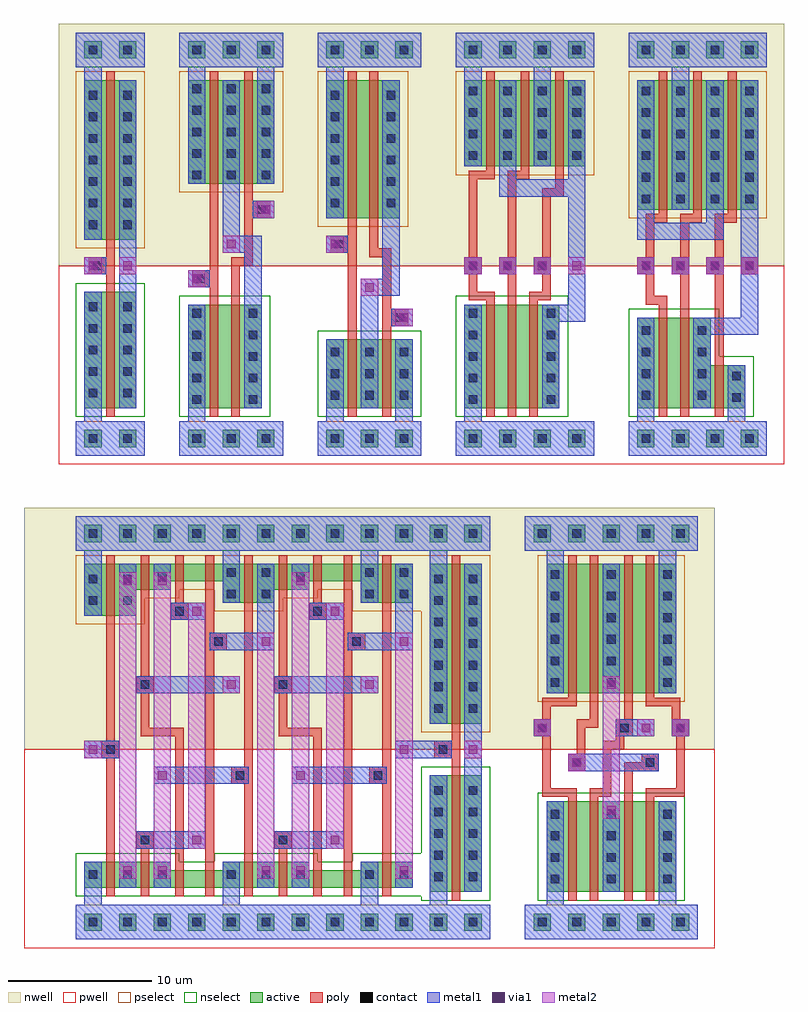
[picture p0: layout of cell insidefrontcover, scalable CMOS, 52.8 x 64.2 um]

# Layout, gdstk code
import gdstk
lib = gdstk.Library(unit=1e-6, precision=1e-09)
def R(c, l, rs):  # rectangles x0, y0, x1, y1
    for r in rs: c.add(gdstk.rectangle(r[:2], r[2:], *l))
def A(c, l, x, y, w, h, nx, ny, dx, dy):  # array of equal rectangles
    R(c, l, [(x+i*dx, y+j*dy, x+i*dx+w, y+j*dy+h) for i in range(nx) for j in range(ny)])
contact = (25, 0)
pwell = (41, 0)
nwell = (42, 0)
active = (43, 0)
pselect = (44, 0)
nselect = (45, 0)
poly = (46, 0)
metal1 = (49, 0)
via1 = (50, 0)
metal2 = (51, 0)

a2o1i_1_5x = lib.new_cell('a2o1i_1_5x')
A(a2o1i_1_5x, contact, 0.9, -0.3, 0.6, 0.6, 4, 2, 2.4, 12)
A(a2o1i_1_5x, contact, 0.9, 2.7, 0.6, 0.6, 1, 4, 0, 1.5)
A(a2o1i_1_5x, contact, 4.8, 2.7, 0.6, 0.6, 1, 4, 0, 1.5)
A(a2o1i_1_5x, contact, 0.9, 16.35, 0.6, 0.6, 4, 6, 2.4, 1.5)
A(a2o1i_1_5x, contact, 0.9, 26.7, 0.6, 0.6, 4, 1, 2.4, 0)
R(a2o1i_1_5x, contact, [(7.2,2.55,7.8,3.15), (7.2,4.05,7.8,4.65)])
A(a2o1i_1_5x, pwell, -0.3, -1.5, 3, 3, 4, 1, 2.4, 0)
R(a2o1i_1_5x, pwell, [(-1.2,-1.8,10.8,12), (-1.2,0.3,3.6,10.2), (-0.6,0.3,5.4,10.2), (0.9,0.3,6.9,10.2), (2.7,0.3,7.5,10.2), (3.3,0.3,9.3,6.9), (5.1,0.3,9.9,6.9), (2.775,1.35,7.425,5.85), (5.175,1.35,9.75,5.85), (-1.05,1.95,3.525,6.45), (0.525,1.95,5.775,6.45), (2.775,1.95,7.35,6.45)])
A(a2o1i_1_5x, nwell, -1.2, 14.1, 4.8, 12.6, 4, 1, 2.4, 0)
A(a2o1i_1_5x, nwell, -0.6, 14.1, 6, 12.6, 3, 1, 2.4, 0)
A(a2o1i_1_5x, nwell, -0.3, 25.5, 3, 3, 4, 1, 2.4, 0)
R(a2o1i_1_5x, nwell, [(-1.2,12,10.8,28.8), (-1.05,19.65,3.525,24.15), (1.275,19.65,5.85,24.15), (1.35,19.65,5.925,24.15), (3.675,19.65,8.25,24.15), (3.75,19.65,8.325,24.15), (6.075,19.65,10.65,24.15)])
A(a2o1i_1_5x, active, 0.6, -0.6, 1.2, 1.2, 4, 2, 2.4, 27)
A(a2o1i_1_5x, active, 0.6, 15.9, 1.2, 9, 4, 1, 2.4, 0)
A(a2o1i_1_5x, active, 1.2, 15.9, 2.4, 9, 3, 1, 2.4, 0)
R(a2o1i_1_5x, active, [(0.6,2.1,1.8,8.4), (1.2,2.1,3.6,8.4), (2.7,2.1,5.1,8.4), (4.5,2.1,5.7,8.4), (5.1,2.1,7.5,5.1), (6.9,2.1,8.1,5.1), (4.575,3.15,5.625,4.05), (6.975,3.15,7.95,4.05), (0.75,3.75,1.725,4.65), (2.325,3.75,3.975,4.65), (4.575,3.75,5.55,4.65), (0.75,21.45,1.725,22.35), (3.075,21.45,4.05,22.35), (3.15,21.45,4.125,22.35), (5.475,21.45,6.45,22.35), (5.55,21.45,6.525,22.35), (7.875,21.45,8.85,22.35)])
A(a2o1i_1_5x, pselect, 0, -1.2, 2.4, 2.4, 4, 1, 2.4, 0)
A(a2o1i_1_5x, pselect, 0, 15.3, 2.4, 10.2, 4, 1, 2.4, 0)
A(a2o1i_1_5x, pselect, 0.6, 15.3, 3.6, 10.2, 3, 1, 2.4, 0)
R(a2o1i_1_5x, pselect, [(0.15,20.85,2.325,22.95), (2.475,20.85,4.65,22.95), (2.55,20.85,4.725,22.95), (4.875,20.85,7.05,22.95), (4.95,20.85,7.125,22.95), (7.275,20.85,9.45,22.95)])
A(a2o1i_1_5x, nselect, 0, 25.8, 2.4, 2.4, 4, 1, 2.4, 0)
R(a2o1i_1_5x, nselect, [(0,1.5,2.4,9), (0.6,1.5,4.2,9), (2.1,1.5,5.7,9), (3.9,1.5,6.3,9), (4.5,1.5,8.1,5.7), (6.3,1.5,8.7,5.7), (3.975,2.55,6.225,4.65), (6.375,2.55,8.55,4.65), (0.15,3.15,2.325,5.25), (1.725,3.15,4.575,5.25), (3.975,3.15,6.15,5.25)])
A(a2o1i_1_5x, poly, 0.6, 11.4, 1.2, 1.2, 4, 1, 2.4, 0)
A(a2o1i_1_5x, poly, 0.9, 11.7, 0.9, 0.6, 3, 1, 2.4, 0)
A(a2o1i_1_5x, poly, 1.2, 11.7, 0.6, 3.9, 3, 1, 2.4, 0)
A(a2o1i_1_5x, poly, 1.2, 15, 1.5, 0.6, 3, 1, 2.4, 0)
A(a2o1i_1_5x, poly, 2.1, 15.3, 0.6, 10.2, 3, 1, 2.4, 0)
R(a2o1i_1_5x, poly, [(2.1,1.5,2.7,9), (3.6,1.5,4.2,9), (6,1.5,6.6,5.7), (6,5.4,6.6,12.3), (2.1,8.7,2.7,9.3), (2.1,8.7,2.7,9.3), (2.1,8.7,2.7,9.9), (3.6,8.7,4.2,12.3), (1.2,9.3,2.7,9.9), (1.2,9.3,1.8,12.3), (3.6,11.7,4.2,12.3)])
A(a2o1i_1_5x, metal1, 0.6, -0.6, 1.2, 1.2, 4, 2, 2.4, 27)
A(a2o1i_1_5x, metal1, 0.6, 15.9, 1.2, 9, 4, 1, 2.4, 0)
A(a2o1i_1_5x, metal1, 0, 25.8, 4.8, 2.4, 3, 1, 2.4, 0)
R(a2o1i_1_5x, metal1, [(0,-1.2,4.8,1.2), (0,-1.2,4.8,1.2), (2.4,-1.2,7.2,1.2), (4.8,-1.2,8.7,1.2), (6.3,-1.2,9.6,1.2), (6.3,-1.2,9.6,1.2), (0.6,-0.6,1.8,3.15), (6.9,-0.6,8.1,4.2), (0.75,-0.45,1.65,0.45), (7.95,-0.45,8.85,0.45), (0.6,2.1,1.8,8.4), (4.5,2.1,5.7,8.4), (6.9,2.1,8.1,5.1), (4.5,5.25,5.7,8.4), (4.5,7.2,9,8.4), (7.8,7.2,9,12.6), (4.65,7.35,5.55,8.25), (0.6,11.4,1.8,12.6), (0.6,11.4,1.8,12.6), (3,11.4,4.2,12.6), (3,11.4,4.2,12.6), (3,11.4,4.2,12.6), (5.4,11.4,6.6,12.6), (5.4,11.4,6.6,12.6), (5.4,11.4,6.6,12.6), (7.8,11.4,9,12.6), (7.8,11.4,9,12.6), (7.8,11.4,9,12.6), (7.8,11.4,9,16.95), (0.75,11.55,1.65,12.45), (0.6,13.8,1.8,22.5), (0.6,13.8,6.6,15), (5.4,13.8,6.6,19.95), (3,23.85,4.2,27.6), (0,25.8,2.4,28.2), (0,25.8,4.8,28.2), (2.4,25.8,9.6,28.2), (0.6,26.4,1.8,27.6), (7.8,26.4,9,27.6), (0.75,26.55,1.65,27.45)])
A(a2o1i_1_5x, via1, 0.9, 11.7, 0.6, 0.6, 4, 1, 2.4, 0)
A(a2o1i_1_5x, metal2, 0.6, 11.4, 1.2, 1.2, 4, 1, 2.4, 0)

flop_dp_4x = lib.new_cell('flop_dp_4x')
A(flop_dp_4x, contact, 14.7, -0.3, 0.6, 0.6, 3, 2, 2.4, 27)
A(flop_dp_4x, contact, 19.5, -0.3, 0.6, 0.6, 10, 2, 2.4, 27)
A(flop_dp_4x, contact, 38.7, 2.85, 0.6, 0.6, 1, 5, 0, 1.5)
A(flop_dp_4x, contact, 41.1, 2.85, 0.6, 0.6, 1, 5, 0, 1.5)
A(flop_dp_4x, contact, 24.3, 3, 0.6, 0.6, 3, 1, 2.4, 0)
A(flop_dp_4x, contact, 38.7, 14.55, 0.6, 0.6, 1, 7, 0, 1.5)
A(flop_dp_4x, contact, 41.1, 14.55, 0.6, 0.6, 1, 7, 0, 1.5)
R(flop_dp_4x, contact, [(14.7,3,15.3,3.6), (17.1,3,17.7,3.6), (17.1,3,17.7,3.6), (19.5,3,20.1,3.6), (33.9,3,34.5,3.6), (36.3,3,36.9,3.6), (18.3,5.4,18.9,6), (27.9,5.4,28.5,6), (24.9,9.9,25.5,10.5), (34.5,9.9,35.1,10.5), (15.9,11.7,16.5,12.3), (39,11.7,39.6,12.3), (18.3,16.2,18.9,16.8), (27.9,16.2,28.5,16.8), (23.4,19.2,24,19.8), (33,19.2,33.6,19.8), (20.7,21.3,21.3,21.9), (30.3,21.3,30.9,21.9), (14.7,22.05,15.3,22.65), (17.1,22.05,17.7,22.65), (24.3,22.5,24.9,23.1), (26.7,22.5,27.3,23.1), (33.9,22.5,34.5,23.1), (36.3,22.5,36.9,23.1), (14.7,23.55,15.3,24.15), (17.1,23.55,17.7,24.15), (19.5,23.7,20.1,24.3), (29.1,23.7,29.7,24.3), (24.3,24,24.9,24.6), (26.7,24,27.3,24.6), (33.9,24,34.5,24.6), (36.3,24,36.9,24.6)])
A(flop_dp_4x, pwell, 13.5, -1.5, 3, 3, 3, 1, 2.4, 0)
A(flop_dp_4x, pwell, 18.3, -1.5, 3, 3, 10, 1, 2.4, 0)
A(flop_dp_4x, pwell, 22.2, 0.6, 4.8, 5.4, 3, 1, 2.4, 0)
R(flop_dp_4x, pwell, [(10.2,-1.8,43.8,12), (36.6,0.3,41.4,12), (37.2,0.3,43.2,12), (39,0.3,43.8,12), (12.6,0.6,17.4,6), (13.2,0.6,19.2,6), (15,0.6,19.8,6), (15,0.6,19.8,6), (15.6,0.6,21.6,6), (17.4,0.6,22.2,6), (18,0.6,24,5.4), (20.1,0.6,26.1,5.4), (22.8,0.6,28.8,6), (25.2,0.6,31.2,6), (27.6,0.6,33.6,5.4), (29.7,0.6,35.7,5.4), (31.8,0.6,36.6,6), (32.4,0.6,38.4,6), (34.2,0.6,39,6), (12.75,0.75,17.325,5.25), (17.475,0.75,22.125,5.25), (19.725,0.75,24.375,5.25), (21.975,0.75,26.85,5.25), (27.075,0.75,31.725,5.25), (29.325,0.75,33.975,5.25), (31.575,0.9,36.45,5.4), (15.075,1.05,19.65,5.55), (17.475,1.05,22.05,5.55), (24.675,1.05,29.25,5.55), (24.675,1.05,29.325,5.55), (27.075,1.05,31.65,5.55), (15.15,1.35,19.725,5.85), (31.95,1.35,36.525,5.85), (34.275,1.35,38.85,5.85), (15.075,1.5,19.65,6), (22.35,1.5,26.925,6), (36.75,1.5,41.325,6), (39.075,1.5,43.65,6)])
A(flop_dp_4x, nwell, 13.5, 25.5, 3, 3, 3, 1, 2.4, 0)
A(flop_dp_4x, nwell, 18.3, 25.5, 3, 3, 10, 1, 2.4, 0)
R(flop_dp_4x, nwell, [(10.2,12,43.8,28.8), (36.6,12,41.4,26.7), (37.2,12,43.2,26.7), (39,12,43.8,26.7), (12.6,19.5,17.4,26.7), (13.2,19.5,19.2,26.7), (15,19.5,19.8,26.7), (15.075,20.25,19.65,24.75), (22.2,20.4,27,26.7), (22.8,20.4,28.8,26.7), (24.6,20.4,29.4,26.7), (31.8,20.4,36.6,26.7), (32.4,20.4,38.4,26.7), (34.2,20.4,39,26.7), (36.75,20.4,41.325,24.9), (39.075,20.532,43.65,25.032), (12.75,20.55,17.325,25.05), (34.275,21.15,38.85,25.65), (15.6,21.3,21.6,26.7), (17.4,21.3,22.2,26.7), (24.675,21.3,29.325,25.8), (25.2,21.3,31.2,26.7), (27,21.3,31.8,26.7), (24.675,21.75,29.25,26.25), (27.075,21.75,31.65,26.25), (18,21.9,24,26.7), (20.1,21.9,26.1,26.7), (21.975,21.9,26.925,26.4), (24.75,21.9,29.325,26.4), (27.6,21.9,33.6,26.7), (29.7,21.9,35.7,26.7), (31.575,21.9,36.525,26.4), (17.475,22.05,22.05,26.55), (19.725,22.05,24.375,26.55), (21.975,22.05,26.85,26.55), (27.075,22.05,31.725,26.55), (29.325,22.05,33.975,26.55), (31.575,22.05,36.45,26.55), (15.075,22.2,19.725,26.7), (17.475,22.2,22.125,26.7)])
A(flop_dp_4x, active, 14.4, -0.6, 1.2, 1.2, 3, 2, 2.4, 27)
A(flop_dp_4x, active, 19.2, -0.6, 1.2, 1.2, 10, 2, 2.4, 27)
A(flop_dp_4x, active, 24, 2.4, 1.2, 1.8, 3, 1, 2.4, 0)
R(flop_dp_4x, active, [(38.4,2.1,39.6,10.2), (39,2.1,41.4,10.2), (40.8,2.1,42,10.2), (14.4,2.4,15.6,4.2), (15,2.4,17.4,4.2), (16.8,2.4,18,4.2), (16.8,2.4,18,4.2), (17.4,2.4,19.8,4.2), (19.2,2.4,20.4,4.2), (19.8,2.4,22.2,3.6), (21.9,2.4,24.3,3.6), (24.6,2.4,27,4.2), (27,2.4,29.4,4.2), (29.4,2.4,31.8,3.6), (31.5,2.4,33.9,3.6), (33.6,2.4,34.8,4.2), (34.2,2.4,36.6,4.2), (36,2.4,37.2,4.2), (14.55,2.55,15.525,3.45), (19.275,2.55,20.325,3.45), (21.525,2.55,22.575,3.45), (23.775,2.55,25.05,3.45), (28.875,2.55,29.925,3.45), (31.125,2.55,32.175,3.45), (33.375,2.7,34.65,3.6), (16.875,2.85,17.85,3.75), (19.275,2.85,20.25,3.75), (26.475,2.85,27.45,3.75), (26.475,2.85,27.525,3.75), (28.875,2.85,29.85,3.75), (16.95,3.15,17.925,4.05), (33.75,3.15,34.725,4.05), (36.075,3.15,37.05,4.05), (16.875,3.3,17.85,4.2), (24.15,3.3,25.125,4.2), (38.55,3.3,39.525,4.2), (40.875,3.3,41.85,4.2), (38.4,13.8,39.6,24.9), (39,13.8,41.4,24.9), (40.8,13.8,42,24.9), (14.4,21.3,15.6,24.9), (15,21.3,17.4,24.9), (16.8,21.3,18,24.9), (16.875,22.05,17.85,22.95), (24,22.2,25.2,24.9), (24.6,22.2,27,24.9), (26.4,22.2,27.6,24.9), (33.6,22.2,34.8,24.9), (34.2,22.2,36.6,24.9), (36,22.2,37.2,24.9), (38.55,22.2,39.525,23.1), (40.875,22.332,41.85,23.232), (14.55,22.35,15.525,23.25), (36.075,22.95,37.05,23.85), (17.4,23.1,19.8,24.9), (19.2,23.1,20.4,24.9), (26.475,23.1,27.525,24), (27,23.1,29.4,24.9), (28.8,23.1,30,24.9), (26.475,23.55,27.45,24.45), (28.875,23.55,29.85,24.45), (19.8,23.7,22.2,24.9), (21.9,23.7,24.3,24.9), (23.775,23.7,25.125,24.6), (26.55,23.7,27.525,24.6), (29.4,23.7,31.8,24.9), (31.5,23.7,33.9,24.9), (33.375,23.7,34.725,24.6), (19.275,23.85,20.25,24.75), (21.525,23.85,22.575,24.75), (23.775,23.85,25.05,24.75), (28.875,23.85,29.925,24.75), (31.125,23.85,32.175,24.75), (33.375,23.85,34.65,24.75), (16.875,24,17.925,24.9), (19.275,24,20.325,24.9)])
A(flop_dp_4x, pselect, 13.8, -1.2, 2.4, 2.4, 3, 1, 2.4, 0)
A(flop_dp_4x, pselect, 18.6, -1.2, 2.4, 2.4, 10, 1, 2.4, 0)
R(flop_dp_4x, pselect, [(37.8,13.2,40.2,25.5), (38.4,13.2,42,25.5), (40.2,13.2,42.6,25.5), (13.8,20.7,16.2,25.5), (14.4,20.7,18,25.5), (16.2,20.7,18.6,25.5), (16.275,21.45,18.45,23.55), (23.4,21.6,25.8,25.5), (24,21.6,27.6,25.5), (25.8,21.6,28.2,25.5), (33,21.6,35.4,25.5), (33.6,21.6,37.2,25.5), (35.4,21.6,37.8,25.5), (37.95,21.6,40.125,23.7), (40.275,21.732,42.45,23.832), (13.95,21.75,16.125,23.85), (35.475,22.35,37.65,24.45), (16.8,22.5,20.4,25.5), (18.6,22.5,21,25.5), (25.875,22.5,28.125,24.6), (26.4,22.5,30,25.5), (28.2,22.5,30.6,25.5), (25.875,22.95,28.05,25.05), (28.275,22.95,30.45,25.05), (19.2,23.1,22.8,25.5), (21.3,23.1,24.9,25.5), (23.175,23.1,25.725,25.2), (25.95,23.1,28.125,25.2), (28.8,23.1,32.4,25.5), (30.9,23.1,34.5,25.5), (32.775,23.1,35.325,25.2), (18.675,23.25,20.85,25.35), (20.925,23.25,23.175,25.35), (23.175,23.25,25.65,25.35), (28.275,23.25,30.525,25.35), (30.525,23.25,32.775,25.35), (32.775,23.25,35.25,25.35), (16.275,23.4,18.525,25.5), (18.675,23.4,20.925,25.5)])
A(flop_dp_4x, nselect, 23.4, 1.8, 2.4, 3, 3, 1, 2.4, 0)
A(flop_dp_4x, nselect, 13.8, 25.8, 2.4, 2.4, 3, 1, 2.4, 0)
A(flop_dp_4x, nselect, 18.6, 25.8, 2.4, 2.4, 10, 1, 2.4, 0)
R(flop_dp_4x, nselect, [(37.8,1.5,40.2,10.8), (38.4,1.5,42,10.8), (40.2,1.5,42.6,10.8), (13.8,1.8,16.2,4.8), (14.4,1.8,18,4.8), (16.2,1.8,18.6,4.8), (16.2,1.8,18.6,4.8), (16.8,1.8,20.4,4.8), (18.6,1.8,21,4.8), (19.2,1.8,22.8,4.2), (21.3,1.8,24.9,4.2), (24,1.8,27.6,4.8), (26.4,1.8,30,4.8), (28.8,1.8,32.4,4.2), (30.9,1.8,34.5,4.2), (33,1.8,35.4,4.8), (33.6,1.8,37.2,4.8), (35.4,1.8,37.8,4.8), (13.95,1.95,16.125,4.05), (18.675,1.95,20.925,4.05), (20.925,1.95,23.175,4.05), (23.175,1.95,25.65,4.05), (28.275,1.95,30.525,4.05), (30.525,1.95,32.775,4.05), (32.775,2.1,35.25,4.2), (16.275,2.25,18.45,4.35), (18.675,2.25,20.85,4.35), (25.875,2.25,28.05,4.35), (25.875,2.25,28.125,4.35), (28.275,2.25,30.45,4.35), (16.35,2.55,18.525,4.65), (33.15,2.55,35.325,4.65), (35.475,2.55,37.65,4.65), (16.275,2.7,18.45,4.8), (23.55,2.7,25.725,4.8), (37.95,2.7,40.125,4.8), (40.275,2.7,42.45,4.8)])
R(flop_dp_4x, poly, [(39.9,1.5,40.5,10.8), (15.9,1.8,16.5,4.8), (18.3,1.8,18.9,4.8), (20.7,1.8,21.3,4.2), (22.8,1.8,23.4,4.2), (25.5,1.8,26.1,4.8), (27.9,1.8,28.5,4.8), (30.3,1.8,30.9,4.2), (32.4,1.8,33,4.2), (35.1,1.8,35.7,4.8), (20.7,3.9,21.3,13.5), (22.8,3.9,23.4,19.8), (30.3,3.9,30.9,13.5), (32.4,3.9,33,19.8), (15.9,4.5,16.5,12.3), (18.3,4.5,18.9,6), (25.5,4.5,26.1,10.5), (27.9,4.5,28.5,6), (35.1,4.5,35.7,10.5), (18,5.1,19.2,6.3), (27.6,5.1,28.8,6.3), (24.6,9.6,25.8,10.8), (34.2,9.6,35.4,10.8), (24.9,9.9,26.1,10.5), (25.5,9.9,26.1,21.9), (34.5,9.9,35.7,10.5), (35.1,9.9,35.7,21.9), (39.9,10.5,40.5,12.3), (15.6,11.4,16.8,12.6), (38.7,11.4,39.9,12.6), (15.9,11.7,16.5,21), (39,11.7,40.5,12.3), (39.9,11.7,40.5,13.5), (18.3,12.9,18.9,16.8), (18.3,12.9,21.3,13.5), (18.3,12.9,18.9,22.8), (27.9,12.9,28.5,16.8), (27.9,12.9,30.9,13.5), (39.9,13.2,40.5,25.5), (18,15.9,19.2,17.1), (27.6,15.9,28.8,17.1), (27.9,15.9,28.5,16.8), (27.9,16.2,28.5,22.8), (23.1,18.9,24.3,20.1), (32.7,18.9,33.9,20.1), (22.8,19.2,24,19.8), (22.8,19.2,23.4,23.4), (32.4,19.2,33.6,19.8), (32.4,19.2,33,23.4), (15.9,20.7,16.5,25.5), (20.4,21,21.6,22.2), (30,21,31.2,22.2), (20.7,21.3,21.3,23.4), (30.3,21.3,30.9,23.4), (25.5,21.6,26.1,25.5), (35.1,21.6,35.7,25.5), (18.3,22.5,18.9,25.5), (27.9,22.5,28.5,25.5), (20.7,23.1,21.3,25.5), (22.8,23.1,23.4,25.5), (30.3,23.1,30.9,25.5), (32.4,23.1,33,25.5)])
A(flop_dp_4x, metal1, 13.8, -1.2, 4.8, 2.4, 4, 2, 2.4, 27)
A(flop_dp_4x, metal1, 21, -1.2, 4.8, 2.4, 8, 1, 2.4, 0)
A(flop_dp_4x, metal1, 14.4, -0.6, 1.2, 1.2, 3, 2, 2.4, 27)
A(flop_dp_4x, metal1, 19.2, -0.6, 1.2, 1.2, 9, 1, 2.4, 0)
A(flop_dp_4x, metal1, 24, 2.4, 1.2, 1.8, 3, 1, 2.4, 0)
A(flop_dp_4x, metal1, 14.4, 23.7, 1.2, 3.9, 3, 1, 9.6, 0)
A(flop_dp_4x, metal1, 28.2, 25.8, 4.8, 2.4, 5, 1, 2.4, 0)
A(flop_dp_4x, metal1, 19.2, 26.4, 1.2, 1.2, 7, 1, 2.4, 0)
A(flop_dp_4x, metal1, 33.6, 26.4, 1.2, 1.2, 3, 1, 2.4, 0)
R(flop_dp_4x, metal1, [(16.2,-1.2,19.2,1.2), (18.6,-1.2,21,1.2), (18.6,-1.2,33,1.2), (23.4,-1.2,34.2,1.2), (33.6,-0.9,34.8,0.6), (33.6,-0.9,34.8,3.6), (24,-0.6,25.2,3.6), (38.4,-0.6,39.6,0.6), (40.8,-0.6,42,0.6), (14.4,-0.45,15.6,3.6), (38.4,-0.45,39.6,3.6), (38.4,2.1,39.6,10.2), (40.8,2.1,42,10.2), (14.4,2.4,15.6,4.2), (16.8,2.4,18,4.2), (16.8,2.4,18,4.2), (19.2,2.4,20.4,4.2), (33.6,2.4,34.8,4.2), (36,2.4,37.2,4.2), (19.2,2.7,20.4,4.2), (16.8,3,18,4.2), (16.8,3,18,4.2), (19.2,3,20.4,4.2), (26.4,3,27.6,4.2), (26.4,3,27.6,4.2), (28.8,3,30,4.2), (28.8,3,30,4.2), (36,3,37.2,4.2), (36,3,37.2,4.2), (18,5.1,19.2,6.3), (18,5.1,22.8,6.3), (21.6,5.1,22.8,6.3), (27.6,5.1,28.8,6.3), (27.6,5.1,32.4,6.3), (31.2,5.1,32.4,6.3), (40.8,9,42,12.6), (19.2,9.6,20.4,10.8), (19.2,9.6,25.8,10.8), (24.6,9.6,25.8,10.8), (28.8,9.6,30,10.8), (28.8,9.6,35.4,10.8), (34.2,9.6,35.4,10.8), (14.4,11.4,15.6,12.6), (15.6,11.4,16.8,12.6), (36,11.4,37.2,12.6), (36.3,11.4,39.9,12.6), (38.7,11.4,39.9,12.6), (40.8,11.4,42,12.6), (40.8,11.4,42,23.1), (14.55,11.55,16.65,12.45), (38.4,13.8,39.6,24.9), (40.8,13.8,42,24.9), (18,15.9,19.2,17.1), (18,15.9,24.9,17.1), (24,15.9,25.2,17.1), (27.6,15.9,28.8,17.1), (27.6,15.9,34.8,17.1), (33.6,15.9,34.8,17.1), (23.1,18.9,24.3,20.1), (23.1,18.9,27.6,20.1), (26.4,18.9,27.6,20.1), (26.4,18.9,27.6,23.4), (32.7,18.9,33.9,20.1), (32.7,18.9,37.2,20.1), (36,18.9,37.2,20.1), (36,18.9,37.2,23.4), (36.15,19.05,37.05,19.95), (20.4,21,21.6,22.2), (20.4,21,22.8,22.2), (21.6,21,22.8,22.2), (21.6,21,22.8,22.2), (30,21,31.2,22.2), (30,21,32.4,22.2), (31.2,21,32.4,22.2), (31.2,21,32.4,22.2), (14.4,21.3,15.6,24.9), (16.8,21.3,18,24.9), (24,22.2,25.2,24.9), (26.4,22.2,27.6,24.9), (33.6,22.2,34.8,24.9), (36,22.2,37.2,24.9), (16.8,23.1,18,24.3), (19.2,23.1,20.4,24.9), (19.2,23.1,20.4,24.3), (19.2,23.1,20.4,24.3), (28.8,23.1,30,24.9), (28.8,23.1,30,24.3), (28.8,23.1,30,24.3), (16.95,23.25,17.85,24.15), (38.4,23.7,39.6,27.6), (13.8,25.8,18.6,28.2), (16.8,25.8,21,28.2), (18.6,25.8,21,28.2), (18.6,25.8,30.6,28.2), (23.4,25.8,29.7,28.2), (25.8,25.8,29.7,28.2), (27.3,25.8,30.6,28.2), (38.4,26.4,39.6,27.6), (40.8,26.4,42,27.6)])
R(flop_dp_4x, via1, [(17.1,3.3,17.7,3.9), (19.5,3.3,20.1,3.9), (26.7,3.3,27.3,3.9), (29.1,3.3,29.7,3.9), (36.3,3.3,36.9,3.9), (21.9,5.4,22.5,6), (31.5,5.4,32.1,6), (19.5,9.9,20.1,10.5), (29.1,9.9,29.7,10.5), (14.7,11.7,15.3,12.3), (36.3,11.7,36.9,12.3), (41.1,11.7,41.7,12.3), (24.3,16.2,24.9,16.8), (33.9,16.2,34.5,16.8), (26.7,19.2,27.3,19.8), (36.3,19.2,36.9,19.8), (21.9,21.3,22.5,21.9), (21.9,21.3,22.5,21.9), (31.5,21.3,32.1,21.9), (31.5,21.3,32.1,21.9), (17.1,23.4,17.7,24), (19.5,23.4,20.1,24), (29.1,23.4,29.7,24)])
R(flop_dp_4x, metal2, [(16.8,3,18,4.2), (16.8,3,18,24.3), (19.2,3,20.4,4.2), (26.4,3,27.6,4.2), (26.4,3,27.6,20.1), (28.8,3,30,4.2), (28.8,3,30,10.8), (36,3,37.2,4.2), (36,3,37.2,12.6), (19.2,3.3,20.4,10.5), (21.6,5.1,22.8,6.3), (21.6,5.1,22.8,22.2), (31.2,5.1,32.4,6.3), (31.2,5.1,32.4,22.2), (19.2,9.3,20.4,24.3), (19.2,9.6,20.4,10.8), (28.8,9.6,30,10.8), (28.8,9.6,30,24.3), (14.4,11.4,15.6,12.6), (36,11.4,37.2,12.6), (36,11.4,37.2,20.1), (40.8,11.4,42,12.6), (24,15.9,25.2,17.1), (33.6,15.9,34.8,17.1), (26.4,18.9,27.6,20.1), (36,18.9,37.2,20.1), (21.6,21,22.8,22.2), (21.6,21,22.8,22.2), (21.6,21,22.8,22.2), (31.2,21,32.4,22.2), (31.2,21,32.4,22.2), (31.2,21,32.4,22.2), (16.8,23.1,18,24.3), (19.2,23.1,20.4,24.3), (28.8,23.1,30,24.3)])

inv_4x = lib.new_cell('inv_4x')
A(inv_4x, contact, 0.3, 2.85, 0.6, 0.6, 1, 5, 0, 1.5)
A(inv_4x, contact, 2.7, 2.85, 0.6, 0.6, 1, 5, 0, 1.5)
A(inv_4x, contact, 0.3, 14.55, 0.6, 0.6, 1, 7, 0, 1.5)
A(inv_4x, contact, 2.7, 14.55, 0.6, 0.6, 1, 7, 0, 1.5)
R(inv_4x, contact, [(0.3,-0.3,0.9,0.3), (2.7,-0.3,3.3,0.3), (0.6,11.7,1.2,12.3), (0.3,26.7,0.9,27.3), (2.7,26.7,3.3,27.3)])
R(inv_4x, pwell, [(-1.8,-1.8,5.4,12), (-0.9,-1.5,2.1,1.5), (1.5,-1.5,4.5,1.5), (-1.8,0.3,3,12), (-1.2,0.3,4.8,12), (0.6,0.3,5.4,12), (-1.65,3.9,2.925,8.4), (0.675,3.9,5.25,8.4), (0.75,3.9,5.25,12)])
R(inv_4x, nwell, [(-1.8,12,3,26.7), (-1.8,12,5.4,28.8), (-1.2,12,4.8,26.7), (0.6,12,5.4,26.7), (0.675,17.25,5.25,21.75), (-1.65,20.85,2.925,25.35), (-0.9,25.5,2.1,28.5), (1.5,25.5,4.5,28.5)])
R(inv_4x, active, [(0,-0.6,1.2,0.6), (2.4,-0.6,3.6,0.6), (0,2.1,1.2,10.2), (0.6,2.1,3,10.2), (2.4,2.1,3.6,10.2), (0.15,5.7,1.125,6.6), (2.475,5.7,3.45,6.6), (2.55,5.7,3.45,10.2), (0,13.8,1.2,24.9), (0.6,13.8,3,24.9), (2.4,13.8,3.6,24.9), (2.475,19.05,3.45,19.95), (0.15,22.65,1.125,23.55), (0,26.4,1.2,27.6), (2.4,26.4,3.6,27.6)])
R(inv_4x, pselect, [(-0.6,-1.2,1.8,1.2), (1.8,-1.2,4.2,1.2), (-0.6,13.2,1.8,25.5), (0,13.2,3.6,25.5), (1.8,13.2,4.2,25.5), (1.875,18.45,4.05,20.55), (-0.45,22.05,1.725,24.15)])
R(inv_4x, nselect, [(-0.6,1.5,1.8,10.8), (0,1.5,3.6,10.8), (1.8,1.5,4.2,10.8), (-0.45,5.1,1.725,7.2), (1.875,5.1,4.05,7.2), (1.95,5.1,4.05,10.8), (-0.6,25.8,1.8,28.2), (1.8,25.8,4.2,28.2)])
R(inv_4x, poly, [(1.5,1.5,2.1,10.8), (1.5,10.5,2.1,12.3), (0.3,11.4,1.5,12.6), (0.6,11.7,2.1,12.3), (1.5,11.7,2.1,13.5), (1.5,13.2,2.1,25.5)])
R(inv_4x, metal1, [(-0.6,-1.2,4.2,1.2), (-0.6,-1.2,4.2,1.2), (0,-0.6,1.2,0.6), (0,-0.6,1.2,6.15), (2.4,-0.6,3.6,0.6), (0,2.1,1.2,10.2), (2.4,2.1,3.6,10.2), (2.4,6.15,3.6,12.6), (0,11.4,1.2,12.6), (0.3,11.4,1.5,12.6), (0.3,11.4,1.5,12.6), (2.4,11.4,3.6,12.6), (2.4,11.4,3.6,19.05), (2.55,11.55,3.45,12.45), (0,13.8,1.2,24.9), (2.4,13.8,3.6,24.9), (0,19.35,1.2,27.6), (-0.6,25.8,1.8,28.2), (-0.6,25.8,4.2,28.2), (0,26.4,1.2,27.6), (0,26.4,1.2,27.6), (2.4,26.4,3.6,27.6)])
R(inv_4x, via1, [(0.3,11.7,0.9,12.3), (2.7,11.7,3.3,12.3)])
R(inv_4x, metal2, [(0,11.4,1.2,12.6), (2.4,11.4,3.6,12.6)])

mux2i_dp_1_5x = lib.new_cell('mux2i_dp_1_5x')
A(mux2i_dp_1_5x, contact, 0.3, -0.3, 0.6, 0.6, 5, 2, 2.4, 27)
A(mux2i_dp_1_5x, contact, 1.2, 2.7, 0.6, 0.6, 3, 4, 3.9, 1.5)
A(mux2i_dp_1_5x, contact, 1.2, 16.35, 0.6, 0.6, 3, 6, 3.9, 1.5)
R(mux2i_dp_1_5x, contact, [(2.7,10.8,3.3,11.4), (7.8,10.8,8.4,11.4), (0.3,13.2,0.9,13.8), (6,13.2,6.6,13.8), (9.9,13.2,10.5,13.8)])
A(mux2i_dp_1_5x, pwell, -0.9, -1.5, 3, 3, 5, 1, 2.4, 0)
A(mux2i_dp_1_5x, pwell, -0.9, 0.3, 4.8, 9.9, 3, 1, 3.9, 0)
R(mux2i_dp_1_5x, pwell, [(-1.8,-1.8,12.6,12), (-0.3,0.3,5.7,10.2), (1.2,0.3,7.2,10.2), (3.6,0.3,9.6,10.2), (5.1,0.3,11.1,10.2), (4.725,1.65,9.975,6.15), (3.075,1.95,7.65,6.45), (0.825,2.25,6.075,6.75), (3.15,2.25,7.725,6.75), (6.975,2.55,11.55,7.05), (-0.75,3.45,3.825,7.95)])
A(mux2i_dp_1_5x, nwell, -0.9, 14.1, 4.8, 12.6, 3, 1, 3.9, 0)
A(mux2i_dp_1_5x, nwell, -0.9, 25.5, 3, 3, 5, 1, 2.4, 0)
R(mux2i_dp_1_5x, nwell, [(-1.8,12,12.6,28.8), (-0.3,14.1,5.7,26.7), (1.2,14.1,7.2,26.7), (3.6,14.1,9.6,26.7), (5.1,14.1,11.1,26.7), (4.725,16.95,9.975,21.45), (3.15,17.55,7.725,22.05), (3.075,18.45,7.65,22.95), (6.975,18.75,11.55,23.25), (-0.75,19.95,3.825,24.45), (0.825,20.85,6.075,25.35)])
A(mux2i_dp_1_5x, active, 0, -0.6, 1.2, 1.2, 5, 2, 2.4, 27)
A(mux2i_dp_1_5x, active, 0.9, 2.1, 1.2, 6.3, 3, 1, 3.9, 0)
A(mux2i_dp_1_5x, active, 0.9, 15.9, 1.2, 9, 3, 1, 3.9, 0)
R(mux2i_dp_1_5x, active, [(1.5,2.1,3.9,8.4), (3,2.1,5.4,8.4), (5.4,2.1,7.8,8.4), (6.9,2.1,9.3,8.4), (6.525,3.45,8.175,4.35), (4.875,3.75,5.85,4.65), (2.625,4.05,4.275,4.95), (4.95,4.05,5.925,4.95), (8.775,4.35,9.75,5.25), (1.05,5.25,2.025,6.15), (1.5,15.9,3.9,24.9), (3,15.9,5.4,24.9), (5.4,15.9,7.8,24.9), (6.9,15.9,9.3,24.9), (6.525,18.75,8.175,19.65), (4.95,19.35,5.925,20.25), (4.875,20.25,5.85,21.15), (8.775,20.55,9.75,21.45), (1.05,21.75,2.025,22.65), (2.625,22.65,4.275,23.55)])
A(mux2i_dp_1_5x, pselect, -0.6, -1.2, 2.4, 2.4, 5, 1, 2.4, 0)
A(mux2i_dp_1_5x, pselect, 0.3, 15.3, 2.4, 10.2, 3, 1, 3.9, 0)
R(mux2i_dp_1_5x, pselect, [(0.9,15.3,4.5,25.5), (2.4,15.3,6,25.5), (4.8,15.3,8.4,25.5), (6.3,15.3,9.9,25.5), (5.925,18.15,8.775,20.25), (4.35,18.75,6.525,20.85), (4.275,19.65,6.45,21.75), (8.175,19.95,10.35,22.05), (0.45,21.15,2.625,23.25), (2.025,22.05,4.875,24.15)])
A(mux2i_dp_1_5x, nselect, 0.3, 1.5, 2.4, 7.5, 3, 1, 3.9, 0)
A(mux2i_dp_1_5x, nselect, -0.6, 25.8, 2.4, 2.4, 5, 1, 2.4, 0)
R(mux2i_dp_1_5x, nselect, [(0.9,1.5,4.5,9), (2.4,1.5,6,9), (4.8,1.5,8.4,9), (6.3,1.5,9.9,9), (5.925,2.85,8.775,4.95), (4.275,3.15,6.45,5.25), (2.025,3.45,4.875,5.55), (4.35,3.45,6.525,5.55), (8.175,3.75,10.35,5.85), (0.45,4.65,2.625,6.75)])
R(mux2i_dp_1_5x, poly, [(2.4,1.5,3,9), (3.9,1.5,4.5,9), (6.3,1.5,6.9,9), (7.8,1.5,8.4,9), (0.6,8.7,1.2,13.8), (0.6,8.7,3,9.3), (3.9,8.7,5.4,9.3), (3.9,8.7,4.5,9.3), (4.8,8.7,5.4,12.6), (6.3,8.7,6.9,11.1), (7.8,8.7,10.5,9.3), (9.9,8.7,10.5,13.8), (2.4,10.5,3.6,11.7), (6.3,10.5,8.4,11.1), (7.5,10.5,8.7,11.7), (7.8,10.5,8.4,11.4), (2.7,10.8,3.6,11.4), (2.7,10.8,3.3,11.4), (3,10.8,3.6,14.1), (4.8,12,6.3,12.6), (5.7,12,6.3,13.8), (0,12.9,1.2,14.1), (5.7,12.9,6.9,14.1), (9.6,12.9,10.8,14.1), (0.3,13.2,1.2,13.8), (0.6,13.2,1.2,15.6), (5.7,13.2,6.6,13.8), (6,13.2,6.9,13.8), (6.3,13.2,6.9,15.6), (9.6,13.2,10.2,15.6), (9.6,13.2,10.5,13.8), (9.9,13.2,10.5,13.8), (3,13.5,4.5,14.1), (3.9,13.5,4.5,15.6), (0.6,15,3,15.6), (7.8,15,10.2,15.6), (2.4,15.3,3,25.5), (3.9,15.3,4.5,25.5), (6.3,15.3,6.9,25.5), (7.8,15.3,8.4,25.5)])
A(mux2i_dp_1_5x, metal1, -0.6, -1.2, 4.8, 2.4, 3, 1, 2.4, 0)
A(mux2i_dp_1_5x, metal1, 0, -0.6, 1.2, 1.2, 5, 1, 2.4, 0)
A(mux2i_dp_1_5x, metal1, 0.9, 2.1, 1.2, 6.3, 3, 1, 3.9, 0)
A(mux2i_dp_1_5x, metal1, 0.9, 15.9, 1.2, 9, 3, 1, 3.9, 0)
A(mux2i_dp_1_5x, metal1, 0, 26.4, 1.2, 1.2, 4, 1, 2.4, 0)
R(mux2i_dp_1_5x, metal1, [(-0.6,-1.2,1.8,1.2), (-0.6,-1.2,2.7,1.2), (-0.6,-1.2,4.2,1.2), (6.6,-1.2,10.5,1.2), (8.1,-1.2,11.4,1.2), (0.9,-0.6,2.1,3.15), (8.7,-0.6,9.9,3.15), (4.95,4.65,5.85,8.1), (4.8,7.2,6,8.4), (2.4,10.5,3.6,11.7), (2.4,10.5,3.6,11.7), (2.4,10.5,3.6,11.7), (2.4,10.5,3.6,11.7), (2.4,10.5,8.7,11.7), (7.5,10.5,8.7,11.7), (0,12.9,1.2,14.1), (0,12.9,1.2,14.1), (5.7,12.9,6.9,14.1), (5.7,12.9,8.4,14.1), (7.2,12.9,8.4,14.1), (9.6,12.9,10.8,14.1), (9.6,12.9,10.8,14.1), (0.15,13.05,1.05,13.95), (9.75,13.05,10.65,13.95), (4.8,15.9,6,17.1), (4.95,16.05,5.85,16.95), (8.7,23.7,9.9,27.6), (0.9,23.85,2.1,27.6), (-0.6,25.8,2.7,28.2), (0.3,25.8,4.2,28.2), (1.8,25.8,9,28.2), (6.6,25.8,10.5,28.2), (8.1,25.8,11.4,28.2), (0,26.4,2.1,27.6), (4.8,26.4,8.4,27.6), (7.2,26.4,8.4,27.6), (9.6,26.4,10.8,27.6), (9.6,26.4,10.8,27.6)])
R(mux2i_dp_1_5x, via1, [(5.1,7.5,5.7,8.1), (2.7,10.8,3.3,11.4), (0.3,13.2,0.9,13.8), (7.5,13.2,8.1,13.8), (9.9,13.2,10.5,13.8), (5.1,16.2,5.7,16.8)])
R(mux2i_dp_1_5x, metal2, [(4.8,7.2,6,8.4), (4.8,7.2,6,11.1), (4.8,9.9,6,17.1), (2.4,10.5,3.6,11.7), (0,12.9,1.2,14.1), (7.2,12.9,8.4,14.1), (9.6,12.9,10.8,14.1), (4.8,15.9,6,17.1)])

nand2_2x = lib.new_cell('nand2_2x')
A(nand2_2x, contact, 0.3, -0.3, 0.6, 0.6, 3, 2, 2.4, 18.3)
A(nand2_2x, contact, 0.3, 2.4, 0.6, 0.6, 1, 5, 0, 1.5)
A(nand2_2x, contact, 4.2, 2.4, 0.6, 0.6, 1, 5, 0, 1.5)
A(nand2_2x, contact, 0.3, 19.5, 0.6, 0.6, 3, 4, 2.4, 1.5)
A(nand2_2x, contact, 0.3, 26.7, 0.6, 0.6, 3, 1, 2.4, 0)
R(nand2_2x, contact, [(0.6,10.8,1.2,11.4), (4.8,15.6,5.4,16.2)])
A(nand2_2x, pwell, -0.9, -1.5, 3, 3, 3, 1, 2.4, 0)
R(nand2_2x, pwell, [(-1.8,-1.8,7.8,12), (-1.8,0.3,3,11.1), (-1.2,0.3,4.8,11.1), (0.3,0.3,6.3,11.1), (2.1,0.3,6.9,11.1), (-1.65,3.45,2.925,7.95), (-0.075,3.45,5.175,7.95), (2.175,3.45,6.9,7.95)])
A(nand2_2x, nwell, -1.8, 15.9, 4.8, 10.8, 3, 1, 2.4, 0)
A(nand2_2x, nwell, -0.9, 25.5, 3, 3, 3, 1, 2.4, 0)
R(nand2_2x, nwell, [(-1.8,12,7.8,28.8), (-1.2,15.9,4.8,26.7), (1.2,15.9,7.2,26.7), (-1.65,19.05,2.925,23.55), (0.675,19.05,5.25,23.55), (0.75,19.05,5.325,23.55), (3.075,19.05,7.65,23.55)])
A(nand2_2x, active, 0, -0.6, 1.2, 1.2, 3, 2, 2.4, 27)
A(nand2_2x, active, 0, 17.7, 1.2, 7.2, 3, 1, 2.4, 0)
R(nand2_2x, active, [(0,2.1,1.2,9.3), (0.6,2.1,3,9.3), (2.1,2.1,4.5,9.3), (3.9,2.1,5.1,9.3), (0.15,5.25,1.125,6.15), (1.725,5.25,3.375,6.15), (3.975,5.25,5.1,6.15), (0.6,17.7,3,24.9), (3,17.7,5.4,24.9), (0.15,20.85,1.125,21.75), (2.475,20.85,3.45,21.75), (2.55,20.85,3.525,21.75), (4.875,20.85,5.85,21.75)])
A(nand2_2x, pselect, -0.6, -1.2, 2.4, 2.4, 3, 1, 2.4, 0)
A(nand2_2x, pselect, -0.6, 17.1, 2.4, 8.4, 3, 1, 2.4, 0)
R(nand2_2x, pselect, [(0,17.1,3.6,25.5), (2.4,17.1,6,25.5), (-0.45,20.25,1.725,22.35), (1.875,20.25,4.05,22.35), (1.95,20.25,4.125,22.35), (4.275,20.25,6.45,22.35)])
A(nand2_2x, nselect, -0.6, 25.8, 2.4, 2.4, 3, 1, 2.4, 0)
R(nand2_2x, nselect, [(-0.6,1.5,1.8,9.9), (0,1.5,3.6,9.9), (1.5,1.5,5.1,9.9), (3.3,1.5,5.7,9.9), (-0.45,4.65,1.725,6.75), (1.125,4.65,3.975,6.75), (3.375,4.65,5.7,6.75)])
R(nand2_2x, poly, [(1.5,1.5,2.1,9.9), (3,1.5,3.6,9.9), (1.5,9.6,2.1,11.4), (3,9.6,3.6,12.6), (0.3,10.5,1.5,11.7), (0.6,10.8,2.1,11.4), (1.5,10.8,2.1,17.4), (3,12,4.5,12.6), (3.9,12,4.5,16.2), (4.5,15.3,5.7,16.5), (3.9,15.6,5.4,16.2), (3.9,15.6,4.5,17.4), (1.5,17.1,2.1,25.5), (3.9,17.1,4.5,25.5)])
A(nand2_2x, metal1, 0, -0.6, 1.2, 1.2, 3, 2, 2.4, 27)
A(nand2_2x, metal1, 0, 17.7, 1.2, 7.2, 3, 1, 2.4, 0)
R(nand2_2x, metal1, [(-0.6,-1.2,1.8,1.2), (-0.6,-1.2,4.2,1.2), (-0.6,-1.2,4.2,1.2), (1.8,-1.2,6.6,1.2), (0,-0.6,1.2,3.3), (0,2.1,1.2,9.3), (3.9,2.1,5.1,9.3), (3.9,8.1,5.1,14.1), (0,10.5,1.2,11.7), (0,10.5,1.5,11.7), (0.3,10.5,1.5,11.7), (2.4,12.9,3.6,14.1), (2.4,12.9,3.6,18.9), (2.4,12.9,5.1,14.1), (4.5,15.3,5.7,16.5), (4.5,15.3,6,16.5), (4.8,15.3,6,16.5), (0,23.7,1.2,27.6), (4.8,23.7,6,27.6), (-0.6,25.8,1.8,28.2), (-0.6,25.8,4.2,28.2), (1.8,25.8,6.6,28.2), (0,26.4,1.2,27.6), (4.8,26.4,6,27.6)])
R(nand2_2x, via1, [(0.3,10.8,0.9,11.4), (2.7,13.2,3.3,13.8), (5.1,15.6,5.7,16.2)])
R(nand2_2x, metal2, [(0,10.5,1.2,11.7), (2.4,12.9,3.6,14.1), (4.8,15.3,6,16.5)])

nand3_1_5x = lib.new_cell('nand3_1_5x')
A(nand3_1_5x, contact, 0.3, -0.3, 0.6, 0.6, 4, 2, 2.4, 19.65)
A(nand3_1_5x, contact, 0.3, 2.4, 0.6, 0.6, 1, 5, 0, 1.5)
A(nand3_1_5x, contact, 5.7, 2.4, 0.6, 0.6, 1, 5, 0, 1.5)
A(nand3_1_5x, contact, 0.3, 11.7, 0.6, 0.6, 3, 1, 2.4, 0)
A(nand3_1_5x, contact, 0.3, 20.85, 0.6, 0.6, 4, 3, 2.4, 1.5)
A(nand3_1_5x, contact, 0.3, 26.7, 0.6, 0.6, 4, 1, 2.4, 0)
A(nand3_1_5x, pwell, -0.9, -1.5, 3, 3, 4, 1, 2.4, 0)
A(nand3_1_5x, pwell, -1.2, 0.3, 6, 10.8, 3, 1, 1.5, 0)
R(nand3_1_5x, pwell, [(-1.8,-1.8,10.2,12), (-1.8,0.3,3,11.1), (3.6,0.3,8.4,11.1), (-1.65,3.15,2.925,7.65), (1.425,3.45,6.675,7.95), (3.675,3.45,8.25,7.95), (-0.075,3.75,5.175,8.25)])
A(nand3_1_5x, nwell, -1.8, 17.1, 4.8, 9.6, 4, 1, 2.4, 0)
A(nand3_1_5x, nwell, -1.2, 17.1, 6, 9.6, 3, 1, 2.4, 0)
A(nand3_1_5x, nwell, -0.9, 25.5, 3, 3, 4, 1, 2.4, 0)
R(nand3_1_5x, nwell, [(-1.8,12,10.2,28.8), (-1.65,19.65,2.925,24.15), (0.675,19.65,5.25,24.15), (0.75,19.65,5.325,24.15), (3.075,19.95,7.65,24.45), (3.15,19.95,7.725,24.45), (5.475,19.95,10.05,24.45)])
A(nand3_1_5x, active, 0, -0.6, 1.2, 1.2, 4, 2, 2.4, 27)
A(nand3_1_5x, active, 0.6, 2.1, 2.4, 7.2, 3, 1, 1.5, 0)
A(nand3_1_5x, active, 0, 18.9, 1.2, 6, 4, 1, 2.4, 0)
A(nand3_1_5x, active, 0.6, 18.9, 2.4, 6, 3, 1, 2.4, 0)
R(nand3_1_5x, active, [(0,2.1,1.2,9.3), (5.4,2.1,6.6,9.3), (0.15,4.95,1.125,5.85), (3.225,5.25,4.875,6.15), (5.475,5.25,6.45,6.15), (1.725,5.55,3.375,6.45), (0.15,21.45,1.125,22.35), (2.475,21.45,3.45,22.35), (2.55,21.45,3.525,22.35), (4.875,21.75,5.85,22.65), (4.95,21.75,5.925,22.65), (7.275,21.75,8.25,22.65)])
A(nand3_1_5x, pselect, -0.6, -1.2, 2.4, 2.4, 4, 1, 2.4, 0)
A(nand3_1_5x, pselect, -0.6, 18.3, 2.4, 7.2, 4, 1, 2.4, 0)
A(nand3_1_5x, pselect, 0, 18.3, 3.6, 7.2, 3, 1, 2.4, 0)
R(nand3_1_5x, pselect, [(-0.45,20.85,1.725,22.95), (1.875,20.85,4.05,22.95), (1.95,20.85,4.125,22.95), (4.275,21.15,6.45,23.25), (4.35,21.15,6.525,23.25), (6.675,21.15,8.85,23.25)])
A(nand3_1_5x, nselect, 0, 1.5, 3.6, 8.4, 3, 1, 1.5, 0)
A(nand3_1_5x, nselect, -0.6, 25.8, 2.4, 2.4, 4, 1, 2.4, 0)
R(nand3_1_5x, nselect, [(-0.6,1.5,1.8,9.9), (4.8,1.5,7.2,9.9), (-0.45,4.35,1.725,6.45), (2.625,4.65,5.475,6.75), (4.875,4.65,7.05,6.75), (1.125,4.95,3.975,7.05)])
A(nand3_1_5x, poly, 1.5, 1.5, 0.6, 8.4, 3, 1, 1.5, 0)
A(nand3_1_5x, poly, 0, 11.4, 1.2, 1.2, 3, 1, 2.4, 0)
A(nand3_1_5x, poly, 1.5, 18.3, 0.6, 7.2, 3, 1, 2.4, 0)
R(nand3_1_5x, poly, [(0.3,9.6,2.1,10.2), (0.3,9.6,0.9,12.3), (3,9.6,3.6,12.3), (4.5,9.6,6,10.2), (5.4,9.6,6,12.3), (0.3,11.7,0.9,18.6), (2.7,11.7,3.6,12.3), (3,11.7,3.6,18.6), (5.1,11.7,6,12.3), (5.4,11.7,6,17.4), (5.4,16.8,6.9,17.4), (6.3,16.8,6.9,18.6), (0.3,18,2.1,18.6), (3,18,4.5,18.6)])
A(nand3_1_5x, metal1, -0.6, -1.2, 4.8, 2.4, 3, 2, 2.4, 27)
A(nand3_1_5x, metal1, 0, -0.6, 1.2, 1.2, 4, 2, 2.4, 27)
A(nand3_1_5x, metal1, 0, 18.9, 1.2, 6, 4, 1, 2.4, 0)
R(nand3_1_5x, metal1, [(-0.6,-1.2,1.8,1.2), (-0.6,-1.2,4.2,1.2), (0,-0.6,1.2,3.15), (0,2.1,1.2,9.3), (5.4,2.1,6.6,9.3), (5.4,8.1,8.4,9.3), (7.2,8.1,8.4,12.9), (0,11.4,1.2,12.6), (0,11.4,1.2,12.6), (0,11.4,1.2,12.6), (2.4,11.4,3.6,12.6), (2.4,11.4,3.6,12.6), (4.8,11.4,6,12.6), (4.8,11.4,6,12.6), (7.2,11.4,8.4,12.6), (2.55,11.55,3.45,12.45), (4.95,11.55,5.85,12.45), (7.2,11.7,8.4,18), (2.4,16.8,3.6,22.5), (2.4,16.8,8.4,18), (7.2,16.8,8.4,19.95), (0,23.85,1.2,27.6), (4.8,23.85,6,27.6), (-0.6,25.8,1.8,28.2), (0,26.4,1.2,27.6), (4.8,26.4,8.4,27.6), (7.2,26.4,8.4,27.6)])
A(nand3_1_5x, via1, 0.3, 11.7, 0.6, 0.6, 4, 1, 2.4, 0)
A(nand3_1_5x, metal2, 0, 11.4, 1.2, 1.2, 4, 1, 2.4, 0)

nor2_2x = lib.new_cell('nor2_2x')
A(nor2_2x, contact, 0.3, -0.3, 0.6, 0.6, 3, 2, 2.4, 3)
A(nor2_2x, contact, 0.3, 4.2, 0.6, 0.6, 3, 2, 2.4, 1.5)
A(nor2_2x, contact, 0.3, 16.05, 0.6, 0.6, 1, 6, 0, 1.5)
A(nor2_2x, contact, 4.2, 16.05, 0.6, 0.6, 1, 6, 0, 1.5)
A(nor2_2x, contact, 0.3, 26.7, 0.6, 0.6, 3, 1, 2.4, 0)
R(nor2_2x, contact, [(4.8,8.1,5.4,8.7), (0.6,13.2,1.2,13.8)])
A(nor2_2x, pwell, -0.9, -1.5, 3, 3, 3, 1, 2.4, 0)
A(nor2_2x, pwell, -1.8, 0.3, 4.8, 8.4, 3, 1, 2.4, 0)
R(nor2_2x, pwell, [(-1.8,-1.8,7.8,12), (-1.2,0.3,4.8,8.7), (1.2,0.3,7.2,8.7), (-1.65,1.65,2.925,6.15), (0.675,1.95,5.25,6.45), (0.675,1.95,5.325,6.45), (3.075,2.25,7.65,6.75)])
A(nor2_2x, nwell, -0.9, 25.5, 3, 3, 3, 1, 2.4, 0)
R(nor2_2x, nwell, [(-1.8,12,7.8,28.8), (-1.8,13.5,3,26.7), (-1.2,13.5,4.8,26.7), (0.3,13.5,6.3,26.7), (2.1,13.5,6.9,26.7), (-0.075,17.55,5.175,22.05), (2.175,18.15,6.75,22.65), (-1.65,19.35,2.925,23.85)])
A(nor2_2x, active, 0, -0.6, 1.2, 1.2, 3, 2, 2.4, 27)
A(nor2_2x, active, 0, 2.1, 1.2, 4.8, 3, 1, 2.4, 0)
R(nor2_2x, active, [(0.6,2.1,3,6.9), (3,2.1,5.4,6.9), (0.15,3.45,1.125,4.35), (2.475,3.75,3.45,4.65), (2.475,3.75,3.525,4.65), (4.875,4.05,5.85,4.95), (0,15.3,1.2,24.9), (0.6,15.3,3,24.9), (2.1,15.3,4.5,24.9), (3.9,15.3,5.1,24.9), (1.725,19.35,3.375,20.25), (3.975,19.95,4.95,20.85), (0.15,21.15,1.125,22.05)])
A(nor2_2x, pselect, -0.6, -1.2, 2.4, 2.4, 3, 1, 2.4, 0)
R(nor2_2x, pselect, [(-0.6,14.7,1.8,25.5), (0,14.7,3.6,25.5), (1.5,14.7,5.1,25.5), (3.3,14.7,5.7,25.5), (1.125,18.75,3.975,20.85), (3.375,19.35,5.55,21.45), (-0.45,20.55,1.725,22.65)])
A(nor2_2x, nselect, -0.6, 1.5, 2.4, 6, 3, 1, 2.4, 0)
A(nor2_2x, nselect, -0.6, 25.8, 2.4, 2.4, 3, 1, 2.4, 0)
R(nor2_2x, nselect, [(0,1.5,3.6,7.5), (2.4,1.5,6,7.5), (-0.45,2.85,1.725,4.95), (1.875,3.15,4.05,5.25), (1.875,3.15,4.125,5.25), (4.275,3.45,6.45,5.55)])
R(nor2_2x, poly, [(1.5,1.5,2.1,7.5), (3.9,1.5,4.5,7.5), (1.5,7.2,2.1,13.8), (3.9,7.2,4.5,8.7), (4.5,7.8,5.7,9), (3.9,8.1,4.5,13.2), (3.9,8.1,5.4,8.7), (3,12.6,4.5,13.2), (3,12.6,3.6,15), (0.3,12.9,1.5,14.1), (0.6,13.2,2.1,13.8), (1.5,13.2,2.1,15), (1.5,14.7,2.1,25.5), (3,14.7,3.6,25.5)])
A(nor2_2x, metal1, 0, -0.6, 1.2, 1.2, 3, 2, 2.4, 27)
A(nor2_2x, metal1, 0, 2.1, 1.2, 4.8, 3, 1, 2.4, 0)
R(nor2_2x, metal1, [(-0.6,-1.2,1.8,1.2), (-0.6,-1.2,4.2,1.2), (-0.6,-1.2,4.2,1.2), (1.8,-1.2,6.6,1.2), (0,-0.6,1.2,3.15), (4.8,-0.6,6,3.15), (2.4,3.9,3.6,11.1), (4.5,7.8,5.7,9), (4.5,7.8,6,9), (4.8,7.8,6,9), (2.4,9.9,3.6,11.1), (2.4,9.9,3.6,11.1), (2.4,9.9,5.1,11.1), (3.9,9.9,5.1,16.5), (0,12.9,1.2,14.1), (0,12.9,1.5,14.1), (0.3,12.9,1.5,14.1), (0,15.3,1.2,24.9), (3.9,15.3,5.1,24.9), (0,23.85,1.2,27.6), (-0.6,25.8,1.8,28.2), (-0.6,25.8,4.2,28.2), (1.8,25.8,6.6,28.2), (0,26.4,1.2,27.6), (4.8,26.4,6,27.6)])
R(nor2_2x, via1, [(5.1,8.1,5.7,8.7), (2.7,10.2,3.3,10.8), (0.3,13.2,0.9,13.8)])
R(nor2_2x, metal2, [(4.8,7.8,6,9), (2.4,9.9,3.6,11.1), (0,12.9,1.2,14.1)])

insidefrontcover = lib.new_cell('insidefrontcover')
insidefrontcover.add(gdstk.Reference(a2o1i_1_5x, (38.4,1.5)))
insidefrontcover.add(gdstk.Reference(flop_dp_4x, (-13.8,-32.1)))
insidefrontcover.add(gdstk.Reference(inv_4x, (0.6,1.5)))
insidefrontcover.add(gdstk.Reference(mux2i_dp_1_5x, (31.8,-32.1)))
insidefrontcover.add(gdstk.Reference(nand2_2x, (7.8,1.5)))
insidefrontcover.add(gdstk.Reference(nand3_1_5x, (27,1.5)))
insidefrontcover.add(gdstk.Reference(nor2_2x, (17.4,1.5)))

lib.write_gds('insidefrontcover.gds')
